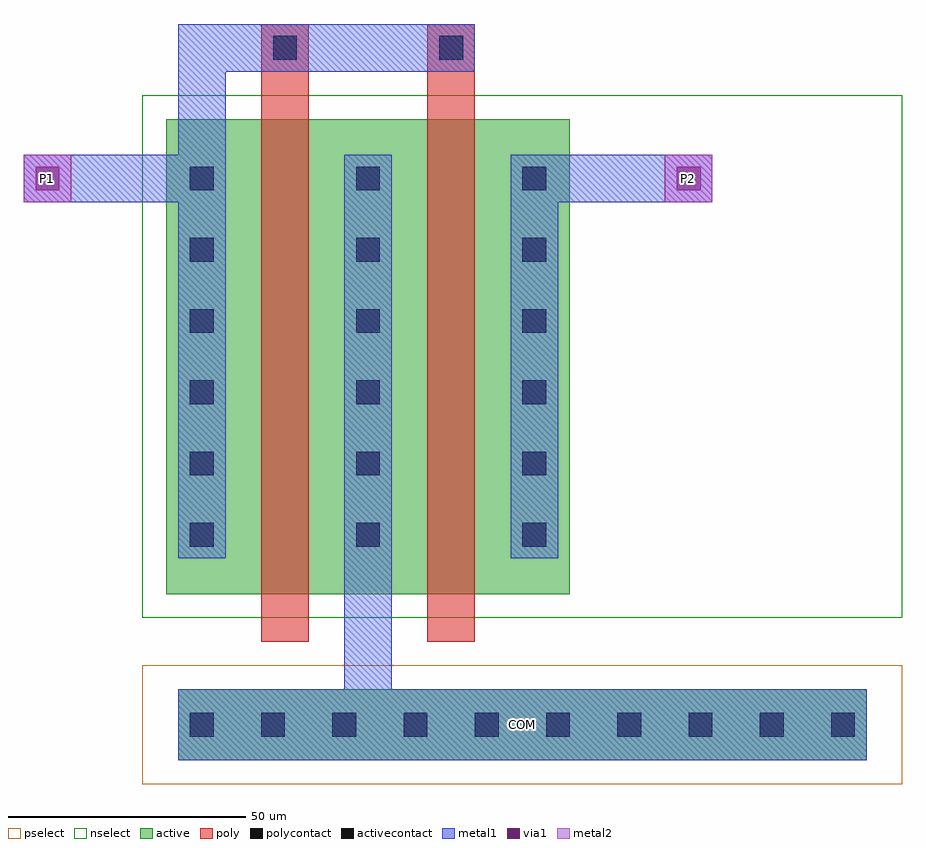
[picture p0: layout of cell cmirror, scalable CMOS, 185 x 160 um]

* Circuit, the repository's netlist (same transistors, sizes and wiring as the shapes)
* Extracted by KLayout (CIDESI_CM05, LNunT, CIDESI)

.SUBCKT cmirror P1 P2 COM
M$1 COM P1 P1 COM CIDNMOS L=10U W=100U AS=2000P AD=1250P PS=240U PD=125U
M$2 P2 P1 COM COM CIDNMOS L=10U W=100U AS=1250P AD=2000P PS=125U PD=240U
.ENDS cmirror

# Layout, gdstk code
import gdstk
lib = gdstk.Library(unit=1e-6, precision=1e-09)
def R(c, l, rs):  # rectangles x0, y0, x1, y1
    for r in rs: c.add(gdstk.rectangle(r[:2], r[2:], *l))
def A(c, l, x, y, w, h, nx, ny, dx, dy):  # array of equal rectangles
    R(c, l, [(x+i*dx, y+j*dy, x+i*dx+w, y+j*dy+h) for i in range(nx) for j in range(ny)])
active = (43, 0)
pselect = (44, 0)
nselect = (45, 0)
poly = (46, 0)
polycontact = (47, 0)
activecontact = (48, 0)
metal1 = (49, 0)
via1 = (50, 0)
metal2 = (51, 0)

cmirror = lib.new_cell('cmirror')
R(cmirror, active, [(-22.5,-85,122.5,-70), (-22.5,-85,122.5,-70), (-25,-50,25,50), (10,-50,60,50)])
R(cmirror, pselect, [(-30,-90,130,-65)])
R(cmirror, nselect, [(-30,-55,30,55), (-30,-55,130,55), (5,-55,65,55)])
R(cmirror, poly, [(-5,-60,5,60), (30,-60,40,60), (-5,60,5,70), (30,60,40,70)])
R(cmirror, polycontact, [(-2.5,62.5,2.5,67.5), (32.5,62.5,37.5,67.5)])
A(cmirror, activecontact, -20, -80, 5, 5, 10, 1, 15, 0)
A(cmirror, activecontact, -20, -40, 5, 5, 1, 6, 0, 15)
A(cmirror, activecontact, 50, -40, 5, 5, 1, 6, 0, 15)
R(cmirror, activecontact, [(15,-40,20,-35), (15,-40,20,-35), (15,-25,20,-20), (15,-25,20,-20), (15,-10,20,-5), (15,-10,20,-5), (15,5,20,10), (15,5,20,10), (15,20,20,25), (15,20,20,25), (15,35,20,40), (15,35,20,40), (50,35,55,40)])
R(cmirror, metal1, [(-22.5,-85,122.5,-70), (12.5,-82.5,22.5,-32.5), (-22.5,-42.5,-12.5,42.5), (12.5,-42.5,22.5,42.5), (12.5,-42.5,22.5,42.5), (47.5,-42.5,57.5,42.5), (-55,32.5,-12.5,42.5), (-22.5,32.5,-12.5,70), (47.5,32.5,90,42.5), (-22.5,60,5,70), (-5,60,40,70)])
R(cmirror, via1, [(-52.5,35,-47.5,40), (82.5,35,87.5,40)])
R(cmirror, metal2, [(-55,32.5,-45,42.5), (80,32.5,90,42.5)])
cmirror.add(gdstk.Label('P1', (-50,37.5), layer=51, texttype=1))
cmirror.add(gdstk.Label('P2', (85,37.5), layer=51, texttype=1))
cmirror.add(gdstk.Label('COM', (50,-77.5), layer=49, texttype=1))

lib.write_gds('cmirror.gds')
